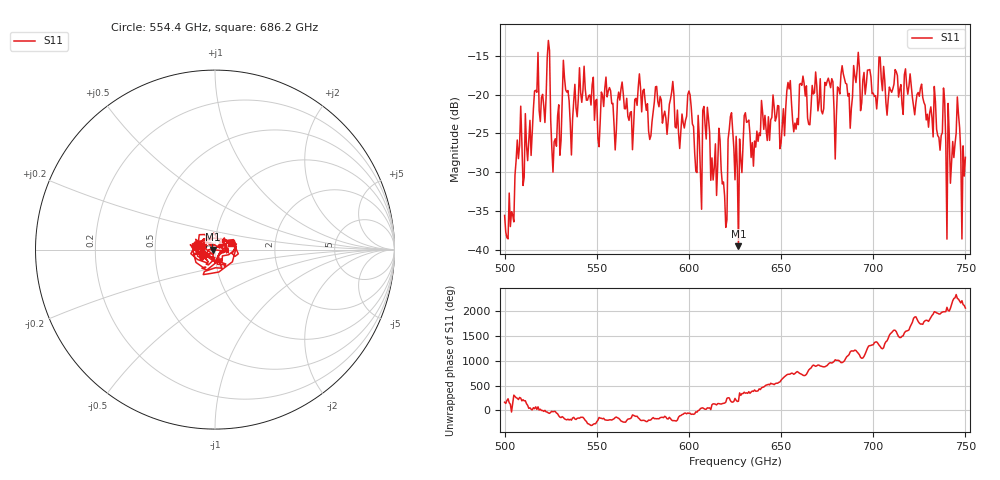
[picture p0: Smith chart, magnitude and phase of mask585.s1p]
!Created with skrf (http://scikit-rf.org).
# GHz S MA R 50.0
!freq magS11 angS11
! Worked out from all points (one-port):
!   401 points, 500 GHz to 750 GHz, reference 50 ohm
!   lowest |S11| = -39.5 dB at 626.9 GHz (marker M1), VSWR 1.02, Z = 49 - j0.091 ohm
!   |S11| at or under -10 dB: start of sweep to end of sweep
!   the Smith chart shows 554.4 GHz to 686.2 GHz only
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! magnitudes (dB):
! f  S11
! 500 GHz  -35.6
! 507.5 GHz  -28.2
! 513.8 GHz  -23.3
! 516.9 GHz  -19.4
! 523.8 GHz  -13.0
! 526.9 GHz  -26.1
! 531.2 GHz  -20.9
! 562.5 GHz  -20.7
! 579.4 GHz  -25.3
! 590.6 GHz  -19.7
! 593.8 GHz  -22.0
! 600.6 GHz  -20.0
! 605.6 GHz  -25.5
! 609.4 GHz  -25.7
! 619.4 GHz  -33.1
! 622.5 GHz  -22.8
! 625 GHz  -31.0
! 626.9 GHz  -39.5
! 631.2 GHz  -23.6
! 635 GHz  -29.2
! 656.2 GHz  -23.3
! 676.2 GHz  -18.4
! 680 GHz  -22.8
! 683.8 GHz  -17.3
! 687.5 GHz  -24.3
! 690.6 GHz  -18.4
! 718.8 GHz  -19.9
! 750 GHz  -28.1
